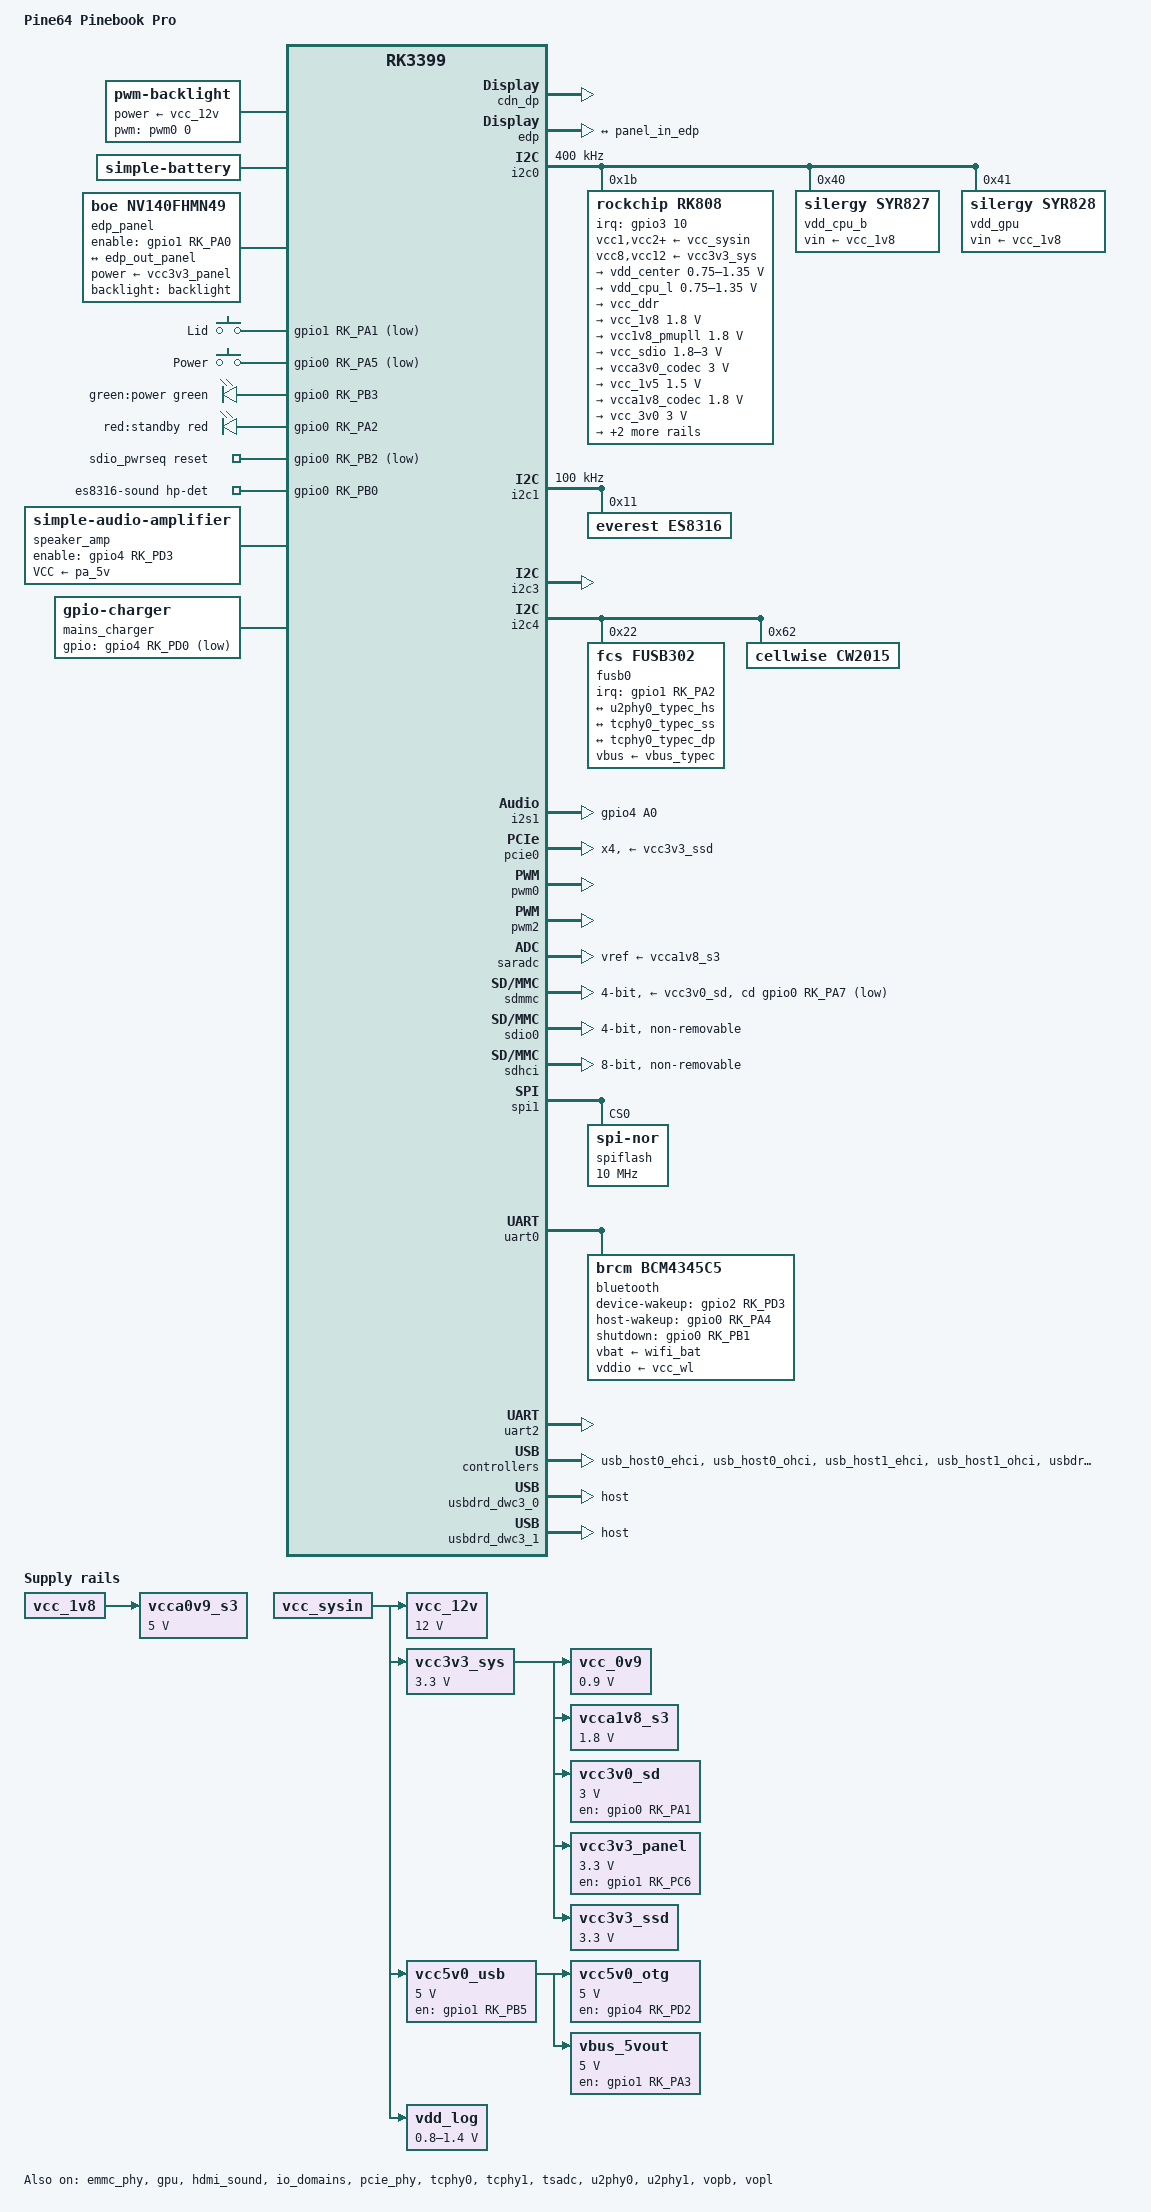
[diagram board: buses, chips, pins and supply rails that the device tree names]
// SPDX-License-Identifier: (GPL-2.0+ OR MIT)
/*
 * Copyright (c) 2017 Fuzhou Rockchip Electronics Co., Ltd.
 * Copyright (c) 2018 Akash Gajjar <Akash_Gajjar@mentor.com>
 * Copyright (c) 2020 Tobias Schramm <t.schramm@manjaro.org>
 */

/dts-v1/;
#include <dt-bindings/input/gpio-keys.h>
#include <dt-bindings/input/linux-event-codes.h>
#include <dt-bindings/pwm/pwm.h>
#include <dt-bindings/usb/pd.h>
#include <dt-bindings/leds/common.h>
#include "rk3399.dtsi"
#include "rk3399-opp.dtsi"

/ {
	model = "Pine64 Pinebook Pro";
	compatible = "pine64,pinebook-pro", "rockchip,rk3399";

	aliases {
		mmc0 = &sdio0;
		mmc1 = &sdmmc;
		mmc2 = &sdhci;
	};

	chosen {
		stdout-path = "serial2:1500000n8";
	};

	backlight: edp-backlight {
		compatible = "pwm-backlight";
		power-supply = <&vcc_12v>;
		pwms = <&pwm0 0 740740 0>;
	};

	bat: battery {
		compatible = "simple-battery";
		charge-full-design-microamp-hours = <9800000>;
		voltage-max-design-microvolt = <4350000>;
		voltage-min-design-microvolt = <3000000>;
	};

	edp_panel: edp-panel {
		compatible = "boe,nv140fhmn49";
		backlight = <&backlight>;
		enable-gpios = <&gpio1 RK_PA0 GPIO_ACTIVE_HIGH>;
		pinctrl-names = "default";
		pinctrl-0 = <&panel_en_pin>;
		power-supply = <&vcc3v3_panel>;

		ports {
			#address-cells = <1>;
			#size-cells = <0>;

			port@0 {
				reg = <0>;
				#address-cells = <1>;
				#size-cells = <0>;

				panel_in_edp: endpoint@0 {
					reg = <0>;
					remote-endpoint = <&edp_out_panel>;
				};
			};
		};
	};

	/*
	 * Use separate nodes for gpio-keys to allow for selective deactivation
	 * of wakeup sources via sysfs without disabling the whole key
	 */
	gpio-key-lid {
		compatible = "gpio-keys";
		pinctrl-names = "default";
		pinctrl-0 = <&lidbtn_pin>;

		lid {
			debounce-interval = <20>;
			gpios = <&gpio1 RK_PA1 GPIO_ACTIVE_LOW>;
			label = "Lid";
			linux,code = <SW_LID>;
			linux,input-type = <EV_SW>;
			wakeup-event-action = <EV_ACT_DEASSERTED>;
			wakeup-source;
		};
	};

	gpio-key-power {
		compatible = "gpio-keys";
		pinctrl-names = "default";
		pinctrl-0 = <&pwrbtn_pin>;

		power {
			debounce-interval = <20>;
			gpios = <&gpio0 RK_PA5 GPIO_ACTIVE_LOW>;
			label = "Power";
			linux,code = <KEY_POWER>;
			wakeup-source;
		};
	};

	leds {
		compatible = "gpio-leds";
		pinctrl-names = "default";
		pinctrl-0 = <&pwr_led_pin &slp_led_pin>;

		green_led: led-0 {
			color = <LED_COLOR_ID_GREEN>;
			default-state = "on";
			function = LED_FUNCTION_POWER;
			gpios = <&gpio0 RK_PB3 GPIO_ACTIVE_HIGH>;
			label = "green:power";
		};

		red_led: led-1 {
			color = <LED_COLOR_ID_RED>;
			default-state = "off";
			function = LED_FUNCTION_STANDBY;
			gpios = <&gpio0 RK_PA2 GPIO_ACTIVE_HIGH>;
			label = "red:standby";
			panic-indicator;
			retain-state-suspended;
		};
	};

	/* Power sequence for SDIO WiFi module */
	sdio_pwrseq: sdio-pwrseq {
		compatible = "mmc-pwrseq-simple";
		clocks = <&rk808 1>;
		clock-names = "ext_clock";
		pinctrl-names = "default";
		pinctrl-0 = <&wifi_enable_h_pin>;
		post-power-on-delay-ms = <100>;
		power-off-delay-us = <500000>;

		/* WL_REG_ON on module */
		reset-gpios = <&gpio0 RK_PB2 GPIO_ACTIVE_LOW>;
	};

	/* Audio components */
	es8316-sound {
		compatible = "simple-audio-card";
		pinctrl-names = "default";
		pinctrl-0 = <&hp_det_pin>;
		simple-audio-card,name = "rockchip,es8316-codec";
		simple-audio-card,format = "i2s";
		simple-audio-card,mclk-fs = <256>;

		simple-audio-card,widgets =
			"Microphone", "Mic Jack",
			"Headphone", "Headphones",
			"Speaker", "Speaker";
		simple-audio-card,routing =
			"MIC1", "Mic Jack",
			"Headphones", "HPOL",
			"Headphones", "HPOR",
			"Speaker Amplifier INL", "HPOL",
			"Speaker Amplifier INR", "HPOR",
			"Speaker", "Speaker Amplifier OUTL",
			"Speaker", "Speaker Amplifier OUTR";

		simple-audio-card,hp-det-gpio = <&gpio0 RK_PB0 GPIO_ACTIVE_HIGH>;
		simple-audio-card,aux-devs = <&speaker_amp>;
		simple-audio-card,pin-switches = "Speaker";

		simple-audio-card,cpu {
			sound-dai = <&i2s1>;
		};

		simple-audio-card,codec {
			sound-dai = <&es8316>;
		};
	};

	speaker_amp: speaker-amplifier {
		compatible = "simple-audio-amplifier";
		enable-gpios = <&gpio4 RK_PD3 GPIO_ACTIVE_HIGH>;
		sound-name-prefix = "Speaker Amplifier";
		VCC-supply = <&pa_5v>;
	};

	/* Power tree */
	/* Root power source */
	vcc_sysin: vcc-sysin {
		compatible = "regulator-fixed";
		regulator-name = "vcc_sysin";
		regulator-always-on;
		regulator-boot-on;
	};

	/* Regulators supplied by vcc_sysin */
	/* LCD backlight supply */
	vcc_12v: vcc-12v {
		compatible = "regulator-fixed";
		regulator-name = "vcc_12v";
		regulator-always-on;
		regulator-boot-on;
		regulator-min-microvolt = <12000000>;
		regulator-max-microvolt = <12000000>;
		vin-supply = <&vcc_sysin>;

		regulator-state-mem {
			regulator-off-in-suspend;
		};
	};

	/* Main 3.3 V supply */
	vcc3v3_sys: wifi_bat: vcc3v3-sys {
		compatible = "regulator-fixed";
		regulator-name = "vcc3v3_sys";
		regulator-always-on;
		regulator-boot-on;
		regulator-min-microvolt = <3300000>;
		regulator-max-microvolt = <3300000>;
		vin-supply = <&vcc_sysin>;

		regulator-state-mem {
			regulator-on-in-suspend;
		};
	};

	/* 5 V USB power supply */
	vcc5v0_usb: pa_5v: vcc5v0-usb-regulator {
		compatible = "regulator-fixed";
		enable-active-high;
		gpio = <&gpio1 RK_PB5 GPIO_ACTIVE_HIGH>;
		pinctrl-names = "default";
		pinctrl-0 = <&pwr_5v_pin>;
		regulator-name = "vcc5v0_usb";
		regulator-always-on;
		regulator-min-microvolt = <5000000>;
		regulator-max-microvolt = <5000000>;
		vin-supply = <&vcc_sysin>;

		regulator-state-mem {
			regulator-off-in-suspend;
		};
	};

	/* RK3399 logic supply */
	vdd_log: vdd-log {
		compatible = "pwm-regulator";
		pwms = <&pwm2 0 25000 1>;
		regulator-name = "vdd_log";
		regulator-always-on;
		regulator-boot-on;
		regulator-min-microvolt = <800000>;
		regulator-max-microvolt = <1400000>;
		vin-supply = <&vcc_sysin>;

		regulator-state-mem {
			regulator-on-in-suspend;
		};
	};

	/* Regulators supplied by vcc3v3_sys */
	/* 0.9 V supply, always on */
	vcc_0v9: vcc-0v9 {
		compatible = "regulator-fixed";
		regulator-name = "vcc_0v9";
		regulator-always-on;
		regulator-boot-on;
		regulator-min-microvolt = <900000>;
		regulator-max-microvolt = <900000>;
		vin-supply = <&vcc3v3_sys>;
	};

	/* S3 1.8 V supply, switched by vcc1v8_s3 */
	vcca1v8_s3: vcc1v8-s3 {
		compatible = "regulator-fixed";
		regulator-name = "vcca1v8_s3";
		regulator-always-on;
		regulator-boot-on;
		regulator-min-microvolt = <1800000>;
		regulator-max-microvolt = <1800000>;
		vin-supply = <&vcc3v3_sys>;
	};

	/* micro SD card power */
	vcc3v0_sd: vcc3v0-sd {
		compatible = "regulator-fixed";
		enable-active-high;
		gpio = <&gpio0 RK_PA1 GPIO_ACTIVE_HIGH>;
		pinctrl-names = "default";
		pinctrl-0 = <&sdmmc0_pwr_h_pin>;
		regulator-name = "vcc3v0_sd";
		regulator-always-on;
		regulator-min-microvolt = <3000000>;
		regulator-max-microvolt = <3000000>;
		vin-supply = <&vcc3v3_sys>;

		regulator-state-mem {
			regulator-off-in-suspend;
		};
	};

	/* LCD panel power, called VCC3V3_S0 in schematic */
	vcc3v3_panel: vcc3v3-panel {
		compatible = "regulator-fixed";
		enable-active-high;
		gpio = <&gpio1 RK_PC6 GPIO_ACTIVE_HIGH>;
		pinctrl-names = "default";
		pinctrl-0 = <&lcdvcc_en_pin>;
		regulator-name = "vcc3v3_panel";
		regulator-always-on;
		regulator-min-microvolt = <3300000>;
		regulator-max-microvolt = <3300000>;
		regulator-enable-ramp-delay = <100000>;
		vin-supply = <&vcc3v3_sys>;

		regulator-state-mem {
			regulator-off-in-suspend;
		};
	};

	/* M.2 adapter power, switched by vcc1v8_s3 */
	vcc3v3_ssd: vcc3v3-ssd {
		compatible = "regulator-fixed";
		regulator-name = "vcc3v3_ssd";
		regulator-min-microvolt = <3300000>;
		regulator-max-microvolt = <3300000>;
		vin-supply = <&vcc3v3_sys>;
	};

	/* Regulators supplied by vcc5v0_usb */
	/* USB 3 port power supply regulator  */
	vcc5v0_otg: vcc5v0-otg {
		compatible = "regulator-fixed";
		enable-active-high;
		gpio = <&gpio4 RK_PD2 GPIO_ACTIVE_HIGH>;
		pinctrl-names = "default";
		pinctrl-0 = <&vcc5v0_host_en_pin>;
		regulator-name = "vcc5v0_otg";
		regulator-always-on;
		regulator-min-microvolt = <5000000>;
		regulator-max-microvolt = <5000000>;
		vin-supply = <&vcc5v0_usb>;

		regulator-state-mem {
			regulator-off-in-suspend;
		};
	};

	/* Regulators supplied by vcc5v0_usb */
	/* Type C port power supply regulator */
	vbus_5vout: vbus_typec: vbus-5vout {
		compatible = "regulator-fixed";
		enable-active-high;
		gpio = <&gpio1 RK_PA3 GPIO_ACTIVE_HIGH>;
		pinctrl-names = "default";
		pinctrl-0 = <&vcc5v0_typec0_en_pin>;
		regulator-name = "vbus_5vout";
		regulator-min-microvolt = <5000000>;
		regulator-max-microvolt = <5000000>;
		vin-supply = <&vcc5v0_usb>;

		regulator-state-mem {
			regulator-off-in-suspend;
		};
	};

	/* Regulators supplied by vcc_1v8 */
	/* Primary 0.9 V LDO */
	vcca0v9_s3: vcca0v9-s3 {
		compatible = "regulator-fixed";
		regulator-name = "vcc0v9_s3";
		regulator-min-microvolt = <5000000>;
		regulator-max-microvolt = <5000000>;
		vin-supply = <&vcc_1v8>;

		regulator-state-mem {
			regulator-on-in-suspend;
		};
	};

	mains_charger: dc-charger {
		compatible = "gpio-charger";
		charger-type = "mains";
		gpios = <&gpio4 RK_PD0 GPIO_ACTIVE_LOW>;

		/* Also triggered by USB charger */
		pinctrl-names = "default";
		pinctrl-0 = <&dc_det_pin>;
	};
};

&cdn_dp {
	status = "okay";
};

&cpu_b0 {
	cpu-supply = <&vdd_cpu_b>;
};

&cpu_b1 {
	cpu-supply = <&vdd_cpu_b>;
};

&cpu_l0 {
	cpu-supply = <&vdd_cpu_l>;
};

&cpu_l1 {
	cpu-supply = <&vdd_cpu_l>;
};

&cpu_l2 {
	cpu-supply = <&vdd_cpu_l>;
};

&cpu_l3 {
	cpu-supply = <&vdd_cpu_l>;
};

&edp {
	force-hpd;
	pinctrl-names = "default";
	pinctrl-0 = <&edp_hpd>;
	status = "okay";

	ports {
		edp_out: port@1 {
			reg = <1>;
			#address-cells = <1>;
			#size-cells = <0>;

			edp_out_panel: endpoint@0 {
				reg = <0>;
				remote-endpoint = <&panel_in_edp>;
			};
		};
	};
};

&emmc_phy {
	status = "okay";
};

&gpu {
	mali-supply = <&vdd_gpu>;
	status = "okay";
};

&hdmi_sound {
	status = "okay";
};

&i2c0 {
	clock-frequency = <400000>;
	i2c-scl-falling-time-ns = <4>;
	i2c-scl-rising-time-ns = <168>;
	status = "okay";

	rk808: pmic@1b {
		compatible = "rockchip,rk808";
		reg = <0x1b>;
		#clock-cells = <1>;
		clock-output-names = "xin32k", "rk808-clkout2";
		interrupt-parent = <&gpio3>;
		interrupts = <10 IRQ_TYPE_LEVEL_LOW>;
		pinctrl-names = "default";
		pinctrl-0 = <&pmic_int_l_pin>;
		rockchip,system-power-controller;
		wakeup-source;

		vcc1-supply = <&vcc_sysin>;
		vcc2-supply = <&vcc_sysin>;
		vcc3-supply = <&vcc_sysin>;
		vcc4-supply = <&vcc_sysin>;
		vcc6-supply = <&vcc_sysin>;
		vcc7-supply = <&vcc_sysin>;
		vcc8-supply = <&vcc3v3_sys>;
		vcc9-supply = <&vcc_sysin>;
		vcc10-supply = <&vcc_sysin>;
		vcc11-supply = <&vcc_sysin>;
		vcc12-supply = <&vcc3v3_sys>;
		vcc13-supply = <&vcc_sysin>;
		vcc14-supply = <&vcc_sysin>;

		regulators {
			/* rk3399 center logic supply */
			vdd_center: DCDC_REG1 {
				regulator-name = "vdd_center";
				regulator-always-on;
				regulator-boot-on;
				regulator-min-microvolt = <750000>;
				regulator-max-microvolt = <1350000>;
				regulator-ramp-delay = <6001>;

				regulator-state-mem {
					regulator-off-in-suspend;
				};
			};

			vdd_cpu_l: DCDC_REG2 {
				regulator-name = "vdd_cpu_l";
				regulator-always-on;
				regulator-boot-on;
				regulator-min-microvolt = <750000>;
				regulator-max-microvolt = <1350000>;
				regulator-ramp-delay = <6001>;

				regulator-state-mem {
					regulator-off-in-suspend;
				};
			};

			vcc_ddr: DCDC_REG3 {
				regulator-name = "vcc_ddr";
				regulator-always-on;
				regulator-boot-on;

				regulator-state-mem {
					regulator-on-in-suspend;
				};
			};

			vcc_1v8: vcc_wl: DCDC_REG4 {
				regulator-name = "vcc_1v8";
				regulator-always-on;
				regulator-boot-on;
				regulator-min-microvolt = <1800000>;
				regulator-max-microvolt = <1800000>;

				regulator-state-mem {
					regulator-on-in-suspend;
					regulator-suspend-microvolt = <1800000>;
				};
			};

			/* not used */
			LDO_REG1 {
			};

			/* not used */
			LDO_REG2 {
			};

			vcc1v8_pmupll: LDO_REG3 {
				regulator-name = "vcc1v8_pmupll";
				regulator-always-on;
				regulator-boot-on;
				regulator-min-microvolt = <1800000>;
				regulator-max-microvolt = <1800000>;

				regulator-state-mem {
					regulator-on-in-suspend;
					regulator-suspend-microvolt = <1800000>;
				};
			};

			vcc_sdio: LDO_REG4 {
				regulator-name = "vcc_sdio";
				regulator-always-on;
				regulator-boot-on;
				regulator-min-microvolt = <1800000>;
				regulator-max-microvolt = <3000000>;

				regulator-state-mem {
					regulator-on-in-suspend;
					regulator-suspend-microvolt = <3000000>;
				};
			};

			vcca3v0_codec: LDO_REG5 {
				regulator-name = "vcca3v0_codec";
				regulator-always-on;
				regulator-boot-on;
				regulator-min-microvolt = <3000000>;
				regulator-max-microvolt = <3000000>;

				regulator-state-mem {
					regulator-off-in-suspend;
				};
			};

			vcc_1v5: LDO_REG6 {
				regulator-name = "vcc_1v5";
				regulator-always-on;
				regulator-boot-on;
				regulator-min-microvolt = <1500000>;
				regulator-max-microvolt = <1500000>;

				regulator-state-mem {
					regulator-on-in-suspend;
					regulator-suspend-microvolt = <1500000>;
				};
			};

			vcca1v8_codec: LDO_REG7 {
				regulator-name = "vcca1v8_codec";
				regulator-always-on;
				regulator-boot-on;
				regulator-min-microvolt = <1800000>;
				regulator-max-microvolt = <1800000>;

				regulator-state-mem {
					regulator-off-in-suspend;
				};
			};

			vcc_3v0: LDO_REG8 {
				regulator-name = "vcc_3v0";
				regulator-always-on;
				regulator-boot-on;
				regulator-min-microvolt = <3000000>;
				regulator-max-microvolt = <3000000>;

				regulator-state-mem {
					regulator-on-in-suspend;
					regulator-suspend-microvolt = <3000000>;
				};
			};

			vcc3v3_s3: SWITCH_REG1 {
				regulator-name = "vcc3v3_s3";
				regulator-always-on;
				regulator-boot-on;

				regulator-state-mem {
					regulator-off-in-suspend;
				};
			};

			vcc3v3_s0: SWITCH_REG2 {
				regulator-name = "vcc3v3_s0";
				regulator-always-on;
				regulator-boot-on;

				regulator-state-mem {
					regulator-off-in-suspend;
				};
			};
		};
	};

	vdd_cpu_b: regulator@40 {
		compatible = "silergy,syr827";
		reg = <0x40>;
		fcs,suspend-voltage-selector = <1>;
		pinctrl-names = "default";
		pinctrl-0 = <&vsel1_pin>;
		regulator-name = "vdd_cpu_b";
		regulator-always-on;
		regulator-boot-on;
		regulator-min-microvolt = <712500>;
		regulator-max-microvolt = <1500000>;
		regulator-ramp-delay = <1000>;
		vin-supply = <&vcc_1v8>;

		regulator-state-mem {
			regulator-off-in-suspend;
		};
	};

	vdd_gpu: regulator@41 {
		compatible = "silergy,syr828";
		reg = <0x41>;
		fcs,suspend-voltage-selector = <1>;
		pinctrl-names = "default";
		pinctrl-0 = <&vsel2_pin>;
		regulator-name = "vdd_gpu";
		regulator-always-on;
		regulator-boot-on;
		regulator-min-microvolt = <712500>;
		regulator-max-microvolt = <1500000>;
		regulator-ramp-delay = <1000>;
		vin-supply = <&vcc_1v8>;

		regulator-state-mem {
			regulator-off-in-suspend;
		};
	};
};

&i2c1 {
	clock-frequency = <100000>;
	i2c-scl-falling-time-ns = <4>;
	i2c-scl-rising-time-ns = <168>;
	status = "okay";

	es8316: es8316@11 {
		compatible = "everest,es8316";
		reg = <0x11>;
		clocks = <&cru SCLK_I2S_8CH_OUT>;
		clock-names = "mclk";
		#sound-dai-cells = <0>;
	};
};

&i2c3 {
	i2c-scl-falling-time-ns = <15>;
	i2c-scl-rising-time-ns = <450>;
	status = "okay";
};

&i2c4 {
	i2c-scl-falling-time-ns = <20>;
	i2c-scl-rising-time-ns = <600>;
	status = "okay";

	fusb0: fusb30x@22 {
		compatible = "fcs,fusb302";
		reg = <0x22>;
		interrupt-parent = <&gpio1>;
		interrupts = <RK_PA2 IRQ_TYPE_LEVEL_LOW>;
		pinctrl-names = "default";
		pinctrl-0 = <&fusb0_int_pin>;
		vbus-supply = <&vbus_typec>;

		connector {
			compatible = "usb-c-connector";
			data-role = "host";
			label = "USB-C";
			op-sink-microwatt = <1000000>;
			power-role = "dual";
			sink-pdos =
				<PDO_FIXED(5000, 2500, PDO_FIXED_USB_COMM)>;
			source-pdos =
				<PDO_FIXED(5000, 1400, PDO_FIXED_USB_COMM)>;
			try-power-role = "sink";

			ports {
				#address-cells = <1>;
				#size-cells = <0>;

				port@0 {
					reg = <0>;

					usbc_hs: endpoint {
						remote-endpoint =
							<&u2phy0_typec_hs>;
					};
				};

				port@1 {
					reg = <1>;

					usbc_ss: endpoint {
						remote-endpoint =
							<&tcphy0_typec_ss>;
					};
				};

				port@2 {
					reg = <2>;

					usbc_dp: endpoint {
						remote-endpoint =
							<&tcphy0_typec_dp>;
					};
				};
			};
		};
	};

	cw2015@62 {
		compatible = "cellwise,cw2015";
		reg = <0x62>;
		cellwise,battery-profile = /bits/ 8 <
			0x17 0x67 0x80 0x73 0x6E 0x6C 0x6B 0x63
			0x77 0x51 0x5C 0x58 0x50 0x4C 0x48 0x36
			0x15 0x0C 0x0C 0x19 0x5B 0x7D 0x6F 0x69
			0x69 0x5B 0x0C 0x29 0x20 0x40 0x52 0x59
			0x57 0x56 0x54 0x4F 0x3B 0x1F 0x7F 0x17
			0x06 0x1A 0x30 0x5A 0x85 0x93 0x96 0x2D
			0x48 0x77 0x9C 0xB3 0x80 0x52 0x94 0xCB
			0x2F 0x00 0x64 0xA5 0xB5 0x11 0xF0 0x11
		>;
		cellwise,monitor-interval-ms = <5000>;
		monitored-battery = <&bat>;
		power-supplies = <&mains_charger>, <&fusb0>;
	};
};

&i2s1 {
	pinctrl-names = "default";
	pinctrl-0 = <&i2s_8ch_mclk_pin>, <&i2s1_2ch_bus>;
	rockchip,capture-channels = <8>;
	rockchip,playback-channels = <8>;
	status = "okay";
};

&io_domains {
	audio-supply = <&vcc_3v0>;
	gpio1830-supply = <&vcc_3v0>;
	sdmmc-supply = <&vcc_sdio>;
	status = "okay";
};

&pcie_phy {
	status = "okay";
};

&pcie0 {
	bus-scan-delay-ms = <1000>;
	ep-gpios = <&gpio2 RK_PD4 GPIO_ACTIVE_HIGH>;
	num-lanes = <4>;
	pinctrl-names = "default";
	pinctrl-0 = <&pcie_clkreqn_cpm>;
	vpcie0v9-supply = <&vcca0v9_s3>;
	vpcie1v8-supply = <&vcca1v8_s3>;
	vpcie3v3-supply = <&vcc3v3_ssd>;
	status = "okay";
};

&pinctrl {
	buttons {
		pwrbtn_pin: pwrbtn-pin {
			rockchip,pins = <0 RK_PA5 RK_FUNC_GPIO &pcfg_pull_up>;
		};

		lidbtn_pin: lidbtn-pin {
			rockchip,pins = <1 RK_PA1 RK_FUNC_GPIO &pcfg_pull_up>;
		};
	};

	dc-charger {
		dc_det_pin: dc-det-pin {
			rockchip,pins = <4 RK_PD0 RK_FUNC_GPIO &pcfg_pull_up>;
		};
	};

	es8316 {
		hp_det_pin: hp-det-pin {
			rockchip,pins = <0 RK_PB0 RK_FUNC_GPIO &pcfg_pull_up>;
		};
	};

	fusb302x {
		fusb0_int_pin: fusb0-int-pin {
			rockchip,pins = <1 RK_PA2 RK_FUNC_GPIO &pcfg_pull_up>;
		};
	};

	i2s1 {
		i2s_8ch_mclk_pin: i2s-8ch-mclk-pin {
			rockchip,pins = <4 RK_PA0 1 &pcfg_pull_none>;
		};
	};

	lcd-panel {
		lcdvcc_en_pin: lcdvcc-en-pin {
			rockchip,pins = <1 RK_PC6 RK_FUNC_GPIO &pcfg_pull_none>;
		};

		panel_en_pin: panel-en-pin {
			rockchip,pins = <1 RK_PA0 RK_FUNC_GPIO &pcfg_pull_none>;
		};

		lcd_panel_reset_pin: lcd-panel-reset-pin {
			rockchip,pins = <4 RK_PD6 RK_FUNC_GPIO &pcfg_pull_up>;
		};
	};

	leds {
		pwr_led_pin: pwr-led-pin {
			rockchip,pins = <0 RK_PB3 RK_FUNC_GPIO &pcfg_pull_none>;
		};

		slp_led_pin: slp-led-pin {
			rockchip,pins = <0 RK_PA2 RK_FUNC_GPIO &pcfg_pull_none>;
		};
	};

	pmic {
		pmic_int_l_pin: pmic-int-l-pin {
			rockchip,pins = <3 RK_PB2 RK_FUNC_GPIO &pcfg_pull_up>;
		};

		vsel1_pin: vsel1-pin {
			rockchip,pins = <1 RK_PC1 RK_FUNC_GPIO &pcfg_pull_down>;
		};

		vsel2_pin: vsel2-pin {
			rockchip,pins = <1 RK_PB6 RK_FUNC_GPIO &pcfg_pull_down>;
		};
	};

	sdcard {
		sdmmc0_pwr_h_pin: sdmmc0-pwr-h-pin {
			rockchip,pins = <0 RK_PA1 RK_FUNC_GPIO &pcfg_pull_none>;
		};

	};

	sdio-pwrseq {
		wifi_enable_h_pin: wifi-enable-h-pin {
			rockchip,pins = <0 RK_PB2 RK_FUNC_GPIO &pcfg_pull_none>;
		};
	};

	usb-typec {
		vcc5v0_typec0_en_pin: vcc5v0-typec0-en-pin {
			rockchip,pins = <1 RK_PA3 RK_FUNC_GPIO &pcfg_pull_up>;
		};
	};

	usb2 {
		pwr_5v_pin: pwr-5v-pin {
			rockchip,pins = <1 RK_PB5 RK_FUNC_GPIO &pcfg_pull_none>;
		};

		vcc5v0_host_en_pin: vcc5v0-host-en-pin {
			rockchip,pins = <4 RK_PD2 RK_FUNC_GPIO &pcfg_pull_none>;
		};
	};

	wireless-bluetooth {
		bt_wake_pin: bt-wake-pin {
			rockchip,pins = <2 RK_PD3 RK_FUNC_GPIO &pcfg_pull_none>;
		};

		bt_host_wake_pin: bt-host-wake-pin {
			rockchip,pins = <0 RK_PA4 RK_FUNC_GPIO &pcfg_pull_none>;
		};

		bt_reset_pin: bt-reset-pin {
			rockchip,pins = <0 RK_PB1 RK_FUNC_GPIO &pcfg_pull_none>;
		};
	};
};

&pmu_io_domains {
	pmu1830-supply = <&vcc_3v0>;
	status = "okay";
};

&pwm0 {
	status = "okay";
};

&pwm2 {
	status = "okay";
};

&saradc {
	vref-supply = <&vcca1v8_s3>;
	status = "okay";
};

&sdmmc {
	bus-width = <4>;
	cap-mmc-highspeed;
	cap-sd-highspeed;
	cd-gpios = <&gpio0 RK_PA7 GPIO_ACTIVE_LOW>;
	disable-wp;
	pinctrl-names = "default";
	pinctrl-0 = <&sdmmc_clk &sdmmc_cmd &sdmmc_bus4>;
	sd-uhs-sdr104;
	vmmc-supply = <&vcc3v0_sd>;
	vqmmc-supply = <&vcc_sdio>;
	status = "okay";
};

&sdio0 {
	bus-width = <4>;
	cap-sd-highspeed;
	cap-sdio-irq;
	keep-power-in-suspend;
	mmc-pwrseq = <&sdio_pwrseq>;
	non-removable;
	pinctrl-names = "default";
	pinctrl-0 = <&sdio0_bus4 &sdio0_cmd &sdio0_clk>;
	sd-uhs-sdr104;
	status = "okay";
};

&sdhci {
	bus-width = <8>;
	mmc-hs200-1_8v;
	non-removable;
	status = "okay";
};

&spi1 {
	max-freq = <10000000>;
	status = "okay";

	spiflash: flash@0 {
		compatible = "jedec,spi-nor";
		reg = <0>;
		m25p,fast-read;
		spi-max-frequency = <10000000>;
	};
};

&tcphy0 {
	status = "okay";
};

&tcphy0_dp {
	port {
		tcphy0_typec_dp: endpoint {
			remote-endpoint = <&usbc_dp>;
		};
	};
};

&tcphy0_usb3 {
	port {
		tcphy0_typec_ss: endpoint {
			remote-endpoint = <&usbc_ss>;
		};
	};
};

&tcphy1 {
	status = "okay";
};

&tsadc {
	/* tshut mode 0:CRU 1:GPIO */
	rockchip,hw-tshut-mode = <1>;
	/* tshut polarity 0:LOW 1:HIGH */
	rockchip,hw-tshut-polarity = <1>;
	status = "okay";
};

&u2phy0 {
	status = "okay";

	u2phy0_otg: otg-port {
		status = "okay";
	};

	u2phy0_host: host-port {
		phy-supply = <&vcc5v0_otg>;
		status = "okay";
	};

	port {
		u2phy0_typec_hs: endpoint {
			remote-endpoint = <&usbc_hs>;
		};
	};
};

&u2phy1 {
	status = "okay";

	u2phy1_otg: otg-port {
		status = "okay";
	};

	u2phy1_host: host-port {
		phy-supply = <&vcc5v0_otg>;
		status = "okay";
	};
};

&uart0 {
	pinctrl-names = "default";
	pinctrl-0 = <&uart0_xfer &uart0_cts &uart0_rts>;
	uart-has-rtscts;
	status = "okay";

	bluetooth {
		compatible = "brcm,bcm4345c5";
		clocks = <&rk808 1>;
		clock-names = "lpo";
		device-wakeup-gpios = <&gpio2 RK_PD3 GPIO_ACTIVE_HIGH>;
		host-wakeup-gpios = <&gpio0 RK_PA4 GPIO_ACTIVE_HIGH>;
		max-speed = <1500000>;
		pinctrl-names = "default";
		pinctrl-0 = <&bt_host_wake_pin &bt_wake_pin &bt_reset_pin>;
		shutdown-gpios = <&gpio0 RK_PB1 GPIO_ACTIVE_HIGH>;
		vbat-supply = <&wifi_bat>;
		vddio-supply = <&vcc_wl>;
	};
};

&uart2 {
	status = "okay";
};

&usb_host0_ehci {
	status = "okay";
};

&usb_host0_ohci {
	status = "okay";
};

&usb_host1_ehci {
	status = "okay";
};

&usb_host1_ohci {
	status = "okay";
};

&usbdrd3_0 {
	status = "okay";
};

&usbdrd_dwc3_0 {
	dr_mode = "host";
	status = "okay";
};

&usbdrd3_1 {
	status = "okay";
};

&usbdrd_dwc3_1 {
	dr_mode = "host";
	status = "okay";
};

&vopb {
	status = "okay";
};

&vopb_mmu {
	status = "okay";
};

&vopl {
	status = "okay";
};

&vopl_mmu {
	status = "okay";
};
